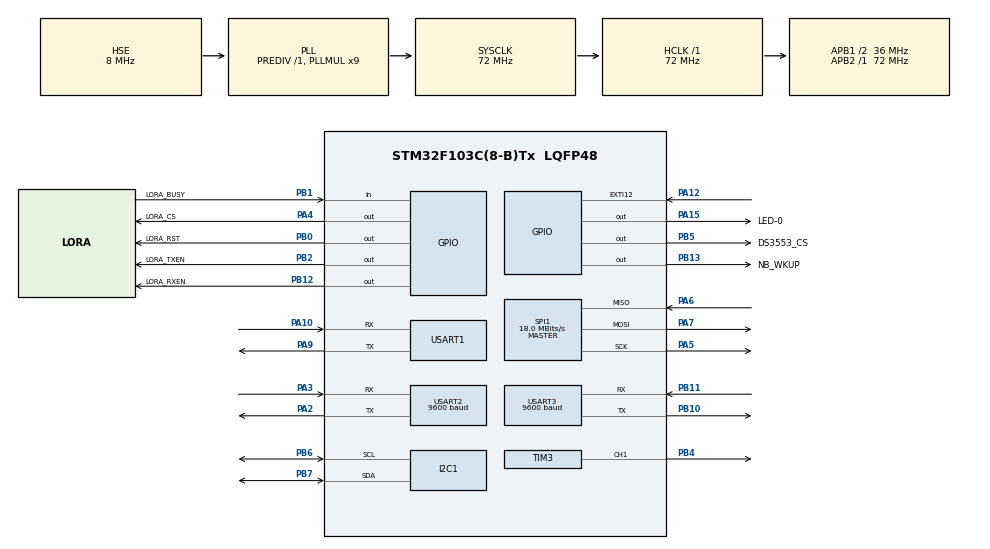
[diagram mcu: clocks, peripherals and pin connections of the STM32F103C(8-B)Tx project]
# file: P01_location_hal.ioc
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Mcu.Family=STM32F1
Mcu.Name=STM32F103C(8-B)Tx
Mcu.Package=LQFP48
NVIC.PriorityGroup=NVIC_PRIORITYGROUP_4
NVIC.USART2_IRQn=true\:0\:0\:false\:false\:true\:true\:true\:true
PA10.Mode=Asynchronous
PA10.Signal=USART1_RX
PA12.GPIO_ModeDefaultEXTI=GPIO_MODE_IT_FALLING
PA12.GPIO_PuPd=GPIO_PULLUP
PA12.Signal=GPXTI12
PA13.Mode=Serial_Wire
PA13.Signal=SYS_JTMS-SWDIO
PA14.Mode=Serial_Wire
PA14.Signal=SYS_JTCK-SWCLK
PA15.GPIO_Label=LED-0
PA15.GPIO_Speed=GPIO_SPEED_FREQ_HIGH
PA15.Signal=GPIO_Output
PA2.Mode=Asynchronous
PA2.Signal=USART2_TX
PA3.Mode=Asynchronous
PA3.Signal=USART2_RX
PA4.GPIO_Label=LORA_CS
PA4.GPIO_Speed=GPIO_SPEED_FREQ_HIGH
PA4.PinState=GPIO_PIN_SET
PA4.Signal=GPIO_Output
PA5.Mode=Full_Duplex_Master
PA5.Signal=SPI1_SCK
PA6.Mode=Full_Duplex_Master
PA6.Signal=SPI1_MISO
PA7.Mode=Full_Duplex_Master
PA7.Signal=SPI1_MOSI
PA9.Mode=Asynchronous
PA9.Signal=USART1_TX
PB0.GPIO_Label=LORA_RST
PB0.GPIO_Speed=GPIO_SPEED_FREQ_HIGH
PB0.PinState=GPIO_PIN_RESET
PB0.Signal=GPIO_Output
PB1.GPIO_Label=LORA_BUSY
PB1.Signal=GPIO_Input
PB10.Mode=Asynchronous
PB10.Signal=USART3_TX
PB11.Mode=Asynchronous
PB11.Signal=USART3_RX
PB12.GPIO_Label=LORA_RXEN
PB12.GPIO_Speed=GPIO_SPEED_FREQ_HIGH
PB12.Signal=GPIO_Output
PB13.GPIO_Label=NB_WKUP
PB13.GPIO_Speed=GPIO_SPEED_FREQ_HIGH
PB13.PinState=GPIO_PIN_RESET
PB13.Signal=GPIO_Output
PB2.GPIO_Label=LORA_TXEN
PB2.GPIO_Speed=GPIO_SPEED_FREQ_HIGH
PB2.Signal=GPIO_Output
PB4.Signal=S_TIM3_CH1
PB5.GPIO_Label=DS3553_CS
PB5.GPIO_Speed=GPIO_SPEED_FREQ_HIGH
PB5.PinState=GPIO_PIN_SET
PB5.Signal=GPIO_Output
PB6.Mode=I2C
PB6.Signal=I2C1_SCL
PB7.Mode=I2C
PB7.Signal=I2C1_SDA
PC14-OSC32_IN.Mode=LSE-External-Oscillator
PC14-OSC32_IN.Signal=RCC_OSC32_IN
PC15-OSC32_OUT.Mode=LSE-External-Oscillator
PC15-OSC32_OUT.Signal=RCC_OSC32_OUT
PD0-OSC_IN.Mode=HSE-External-Oscillator
PD0-OSC_IN.Signal=RCC_OSC_IN
PD1-OSC_OUT.Mode=HSE-External-Oscillator
PD1-OSC_OUT.Signal=RCC_OSC_OUT
ProjectManager.HeapSize=0xA00
ProjectManager.StackSize=0xA00
ProjectManager.TargetToolchain=MDK-ARM V5.32
RCC.AHBFreq_Value=72000000
RCC.APB1CLKDivider=RCC_HCLK_DIV2
RCC.APB1Freq_Value=36000000
RCC.APB1TimFreq_Value=72000000
RCC.APB2Freq_Value=72000000
RCC.APB2TimFreq_Value=72000000
RCC.HCLKFreq_Value=72000000
RCC.PLLMUL=RCC_PLL_MUL9
RCC.PLLSourceVirtual=RCC_PLLSOURCE_HSE
RCC.SYSCLKFreq_VALUE=72000000
RCC.SYSCLKSource=RCC_SYSCLKSOURCE_PLLCLK
RCC.USBFreq_Value=72000000
SH.S_TIM3_CH1.0=TIM3_CH1,PWM Generation1 CH1
SPI1.BaudRatePrescaler=SPI_BAUDRATEPRESCALER_4
SPI1.CalculateBaudRate=18.0 MBits/s
SPI1.Direction=SPI_DIRECTION_2LINES
SPI1.Mode=SPI_MODE_MASTER
SPI1.VirtualType=VM_MASTER
TIM3.Channel-PWM\ Generation1\ CH1=TIM_CHANNEL_1
TIM3.Period=20-1
TIM3.Prescaler=7200-1
TIM3.Pulse-PWM\ Generation1\ CH1=10
USART1.VirtualMode=VM_ASYNC
USART2.BaudRate=9600
USART2.VirtualMode=VM_ASYNC
USART3.BaudRate=9600
USART3.VirtualMode=VM_ASYNC
VP_TIM3_VS_ClockSourceINT.Mode=Internal
board=custom

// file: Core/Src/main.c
/* USER CODE BEGIN Header */
/**
 ******************************************************************************
 * @file           : main.c
 * @brief          : Main program body
 ******************************************************************************
 * @attention
 *
 * Copyright (c) 2026 STMicroelectronics.
 * All rights reserved.
 *
 * This software is licensed under terms that can be found in the LICENSE file
 * in the root directory of this software component.
 * If no LICENSE file comes with this software, it is provided AS-IS.
 *
 ******************************************************************************
 */
/* USER CODE END Header */
#include "main.h"
#include "i2c.h"
#include "spi.h"
#include "tim.h"
#include "usart.h"
#include "gpio.h"

/* USER CODE BEGIN Includes */
#include "Com_debug.h"
#include "App_upload_data.h"
#include "App_warning.h"
/* USER CODE END Includes */

/* USER CODE BEGIN PTD */
extern uint8_t gps_full_buff[GPS_FULL_BUFFER_SIZE]; // 存储的所有接收到的数据
extern uint16_t gps_full_buff_len;
/* USER CODE END PTD */

void SystemClock_Config(void);

int main(void)
{

  /* MCU Configuration--------------------------------------------------------*/

  /* Reset of all peripherals, Initializes the Flash interface and the Systick. */
  HAL_Init();

  /* Configure the system clock */
  SystemClock_Config();

  /* Initialize all configured peripherals */
  MX_GPIO_Init();
  MX_USART1_UART_Init();
  MX_TIM3_Init();
  MX_I2C1_Init();
  MX_USART2_UART_Init();
  MX_USART3_UART_Init();
  MX_SPI1_Init();
  /* USER CODE BEGIN 2 */
  debug_printf("hello world %d", 10);

  // 初始化上传相关硬件
  App_Upload_Data_init();
  // 初始化告警相关硬件
  App_warning_Init();
  uint32_t tick_count = HAL_GetTick();
  uint8_t status = 0;
  /* USER CODE END 2 */

  /* Infinite loop */
  /* USER CODE BEGIN WHILE */
  while (1)
  {

    // 更新gps定位数据
    if (gps_full_buff_len > 0)
    {
      Int_GPS_Updata_Data();
      gps_full_buff_len = 0;
      memset(gps_full_buff, 0, GPS_FULL_BUFFER_SIZE);
      HAL_UARTEx_ReceiveToIdle_IT(&huart2, gps_full_buff, GPS_FULL_BUFFER_SIZE);
    }

    if (status == 1)
    {
      // // 两种写法都可以 => 稳定周期3s 包含代码运行的时间
      // uint32_t current_tick = HAL_GetTick();
      // if (current_tick - tick_count >= 3000)
      // {
      //   // 3s 上传一次
      //   tick_count = current_tick;
      // }
      // 发出告警 闪灯 发送声音
      App_Warning_run();

      // 稳定发送完成之后等待3s 实际的周期大于3s
      if (HAL_GetTick() - tick_count >= 3000)
      {
        // 3s 上传一次
        App_upload_data(status);
        tick_count = HAL_GetTick();
      }
    }
    else
    {
      // 裸机开发 只能按照代码顺序执行 => 获取GPS信息时无法执行其他的事情
      // 判断逻辑 => 高速运行
      status = App_Warning_Get_status();

      // 稳定发送完成之后等待5s 实际的周期大于5s
      if (HAL_GetTick() - tick_count >= 3000)
      {
        // 5s 上传一次
        App_upload_data(status);
        tick_count = HAL_GetTick();
      }
    }

    /* USER CODE END WHILE */

  }
}

void SystemClock_Config(void)
{
  RCC_OscInitTypeDef RCC_OscInitStruct = {0};
  RCC_ClkInitTypeDef RCC_ClkInitStruct = {0};

  /** Initializes the RCC Oscillators according to the specified parameters
   * in the RCC_OscInitTypeDef structure.
   */
  RCC_OscInitStruct.OscillatorType = RCC_OSCILLATORTYPE_HSE;
  RCC_OscInitStruct.HSEState = RCC_HSE_ON;
  RCC_OscInitStruct.HSEPredivValue = RCC_HSE_PREDIV_DIV1;
  RCC_OscInitStruct.HSIState = RCC_HSI_ON;
  RCC_OscInitStruct.PLL.PLLState = RCC_PLL_ON;
  RCC_OscInitStruct.PLL.PLLSource = RCC_PLLSOURCE_HSE;
  RCC_OscInitStruct.PLL.PLLMUL = RCC_PLL_MUL9;
  if (HAL_RCC_OscConfig(&RCC_OscInitStruct) != HAL_OK)
  {
    Error_Handler();
  }

  /** Initializes the CPU, AHB and APB buses clocks
   */
  RCC_ClkInitStruct.ClockType = RCC_CLOCKTYPE_HCLK | RCC_CLOCKTYPE_SYSCLK | RCC_CLOCKTYPE_PCLK1 | RCC_CLOCKTYPE_PCLK2;
  RCC_ClkInitStruct.SYSCLKSource = RCC_SYSCLKSOURCE_PLLCLK;
  RCC_ClkInitStruct.AHBCLKDivider = RCC_SYSCLK_DIV1;
  RCC_ClkInitStruct.APB1CLKDivider = RCC_HCLK_DIV2;
  RCC_ClkInitStruct.APB2CLKDivider = RCC_HCLK_DIV1;

  if (HAL_RCC_ClockConfig(&RCC_ClkInitStruct, FLASH_LATENCY_2) != HAL_OK)
  {
    Error_Handler();
  }
}

void Error_Handler(void)
{
  __disable_irq();
  while (1)
  {
  }
}
